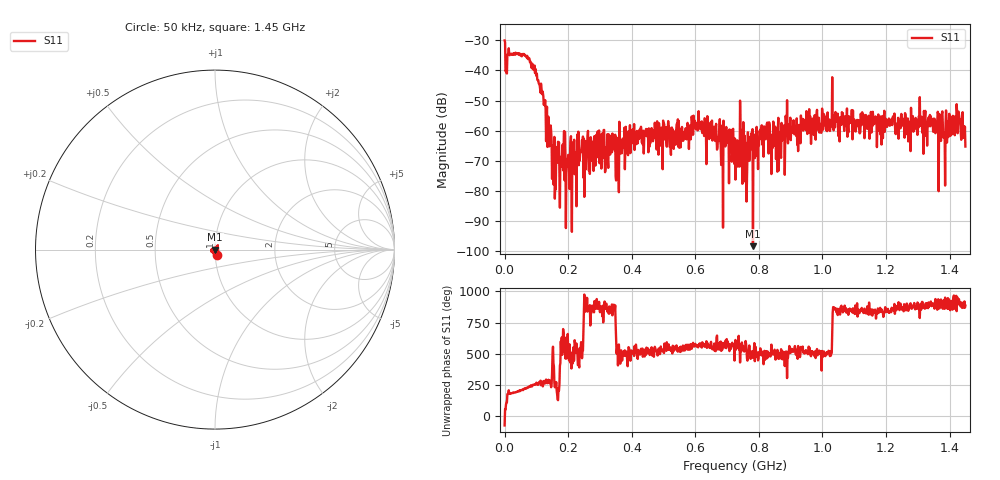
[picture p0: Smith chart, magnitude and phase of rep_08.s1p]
! Created with skrf 1.11.0 (http://scikit-rf.org).
# Hz S RI R 50.0
!freq ReS11 ImS11
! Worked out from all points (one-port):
!   1001 points, 50 kHz to 1.45 GHz, reference 50 ohm
!   lowest |S11| = -98.3 dB at 781.6 MHz (marker M1), VSWR 1.00, Z = 50 + j0.001 ohm
!   |S11| at or under -10 dB: start of sweep to end of sweep
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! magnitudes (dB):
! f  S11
! 50 kHz  -30.1
! 63.85 MHz  -34.8
! 94.3 MHz  -38.4
! 121.8 MHz  -48.5
! 155.2 MHz  -75.6
! 181.3 MHz  -66.1
! 198.7 MHz  -70.6
! 295.8 MHz  -62.2
! 321.9 MHz  -69.0
! 335 MHz  -64.9
! 362.5 MHz  -65.0
! 400.2 MHz  -60.5
! 543.8 MHz  -64.3
! 613.4 MHz  -57.2
! 725 MHz  -62.6
! 732.3 MHz  -63.2
! 748.2 MHz  -77.6
! 755.5 MHz  -61.7
! 781.6 MHz  -98.3
! 826.5 MHz  -57.3
! 862.8 MHz  -73.2
! 906.3 MHz  -60.7
! 1.088 GHz  -56.5
! 1.269 GHz  -55.9
! 1.34 GHz  -58.5
! 1.386 GHz  -78.2
! 1.425 GHz  -60.8
! 1.45 GHz  -65.2
